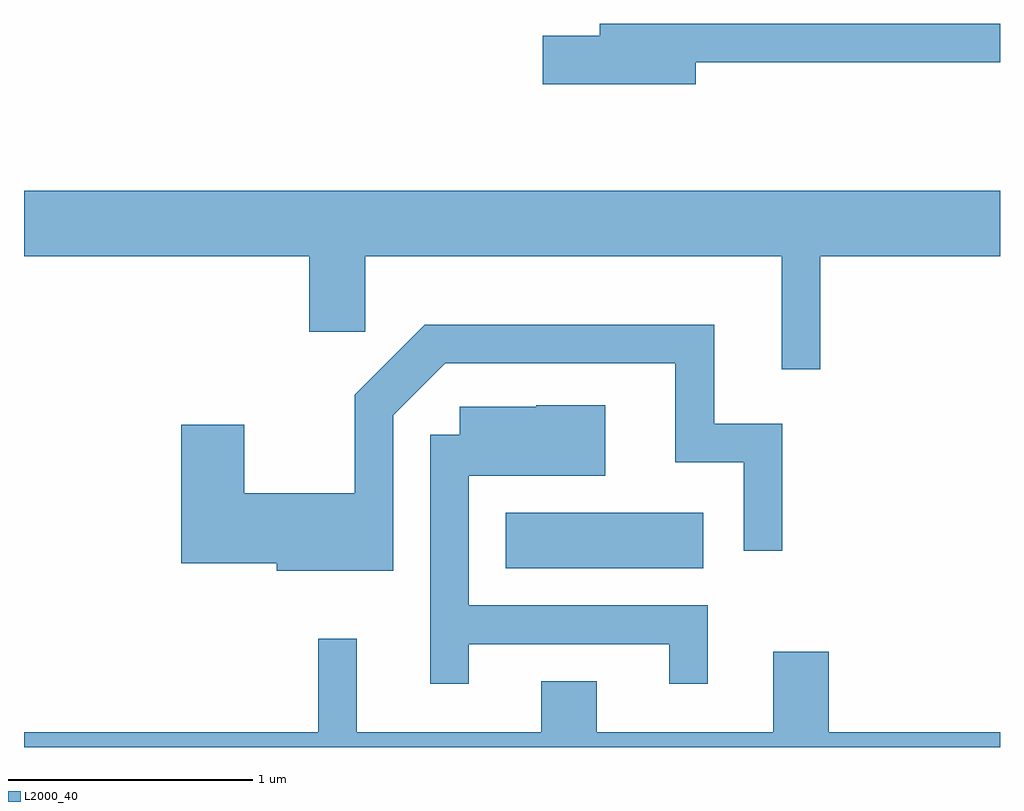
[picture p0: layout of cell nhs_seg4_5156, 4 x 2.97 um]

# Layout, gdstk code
import gdstk
lib = gdstk.Library(unit=1e-6, precision=1e-09)
def R(c, l, rs):  # rectangles x0, y0, x1, y1
    for r in rs: c.add(gdstk.rectangle(r[:2], r[2:], *l))
def P(c, l, *ps):  # polygons
    for p in ps: c.add(gdstk.Polygon(p, *l))
L2000_40 = (2000, 40)

nhs_seg4_5156 = lib.new_cell('nhs_seg4_5156')
R(nhs_seg4_5156, L2000_40, [(337.586,1366.716,338.394,1366.944)])
P(nhs_seg4_5156, L2000_40, [(338.364,1368.791),(339.611,1368.791),(339.611,1368.949),(337.971,1368.949),(337.971,1368.899),(337.736,1368.899),(337.736,1368.701),(338.364,1368.701)],
  [(338.874,1367.996),(339.611,1367.996),(339.611,1368.264),(335.611,1368.264),(335.611,1367.996),(336.781,1367.996),(336.781,1367.686),(337.009,1367.686),(337.009,1367.996),(338.716,1367.996),(338.716,1367.533),(338.874,1367.533)],
  [(337.124,1367.344),(337.337,1367.556),(338.281,1367.556),(338.281,1367.151),(338.561,1367.151),(338.561,1366.788),(338.719,1366.788),(338.719,1367.309),(338.439,1367.309),(338.439,1367.714),(337.254,1367.714),(336.966,1367.427),(336.966,1367.024),(336.514,1367.024),(336.514,1367.304),(336.256,1367.304),(336.256,1366.736),(336.646,1366.736),(336.646,1366.706),(337.124,1366.706)],
  [(337.434,1366.406),(338.256,1366.406),(338.256,1366.243),(338.414,1366.243),(338.414,1366.564),(337.434,1366.564),(337.434,1367.096),(337.994,1367.096),(337.994,1367.384),(337.71,1367.384),(337.71,1367.379),(337.396,1367.379),(337.396,1367.264),(337.276,1367.264),(337.276,1366.243),(337.434,1366.243)],
  [(339.611,1366.044),(338.909,1366.044),(338.909,1366.374),(338.681,1366.374),(338.681,1366.044),(337.959,1366.044),(337.959,1366.254),(337.731,1366.254),(337.731,1366.044),(336.974,1366.044),(336.974,1366.428),(336.816,1366.428),(336.816,1366.044),(335.611,1366.044),(335.611,1365.982),(339.611,1365.982)])

lib.write_gds('nhs_seg4_5156.gds')
